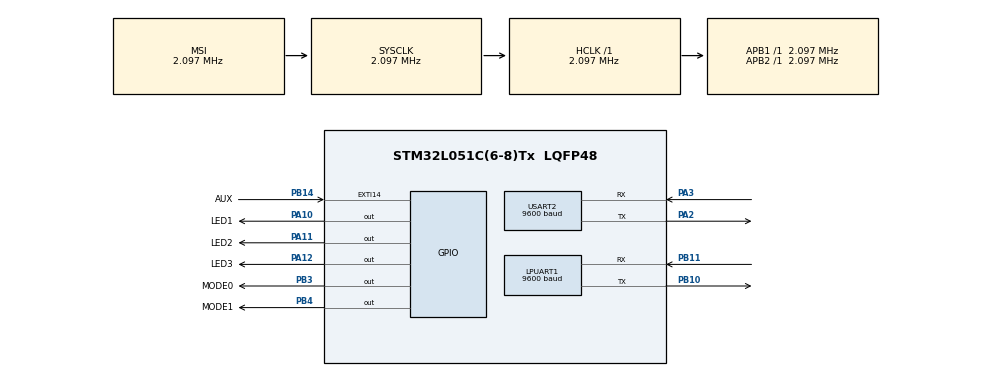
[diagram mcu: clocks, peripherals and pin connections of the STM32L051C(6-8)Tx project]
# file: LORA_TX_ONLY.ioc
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LPUART1.BaudRate=9600
LPUART1.WordLength=UART_WORDLENGTH_8B
Mcu.Family=STM32L0
Mcu.Name=STM32L051C(6-8)Tx
Mcu.Package=LQFP48
NVIC.EXTI4_15_IRQn=true\:0\:0\:false\:false\:true\:true\:true\:true
PA10.GPIO_Label=LED1
PA10.Signal=GPIO_Output
PA11.GPIO_Label=LED2
PA11.Signal=GPIO_Output
PA12.GPIO_Label=LED3
PA12.Signal=GPIO_Output
PA13.Mode=Serial_Wire
PA13.Signal=SYS_SWDIO
PA14.Mode=Serial_Wire
PA14.Signal=SYS_SWCLK
PA2.Mode=Asynchronous
PA2.Signal=USART2_TX
PA3.Mode=Asynchronous
PA3.Signal=USART2_RX
PB10.Mode=Asynchronous
PB10.Signal=LPUART1_TX
PB11.Mode=Asynchronous
PB11.Signal=LPUART1_RX
PB14.GPIO_Label=AUX
PB14.Signal=GPXTI14
PB3.GPIO_Label=MODE0
PB3.Signal=GPIO_Output
PB4.GPIO_Label=MODE1
PB4.Signal=GPIO_Output
ProjectManager.HeapSize=0x200
ProjectManager.StackSize=0x400
ProjectManager.TargetToolchain=STM32CubeIDE
RCC.AHBFreq_Value=2097000
RCC.APB1Freq_Value=2097000
RCC.APB1TimFreq_Value=2097000
RCC.APB2Freq_Value=2097000
RCC.APB2TimFreq_Value=2097000
RCC.HSE_VALUE=8000000
RCC.HSI16_VALUE=16000000
RCC.HSI_VALUE=16000000
RCC.LSE_VALUE=32768
RCC.MSI_VALUE=2097000
RCC.SYSCLKFreq_VALUE=2097000
RCC.VCOOutputFreq_Value=48000000
USART2.BaudRate=9600
USART2.VirtualMode-Asynchronous=VM_ASYNC
board=custom

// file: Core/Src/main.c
/* USER CODE BEGIN Header */
/**
 ******************************************************************************
 * @file           : main.c
 * @brief          : Main program body
 ******************************************************************************
 * @attention
 *
 * Copyright (c) 2024 STMicroelectronics.
 * All rights reserved.
 *
 * This software is licensed under terms that can be found in the LICENSE file
 * in the root directory of this software component.
 * If no LICENSE file comes with this software, it is provided AS-IS.
 *
 ******************************************************************************
 */
/* USER CODE END Header */
#include "main.h"

/* USER CODE BEGIN Includes */
#include "Lora.h"
/* USER CODE END Includes */

UART_HandleTypeDef hlpuart1;
UART_HandleTypeDef huart2;

void SystemClock_Config(void);
static void MX_GPIO_Init(void);
static void MX_LPUART1_UART_Init(void);
static void MX_USART2_UART_Init(void);

/* USER CODE BEGIN 0 */
uint8_t data[4];
uint8_t received_data[2];                  // Buffer for echoed data
uint8_t counter = 0;                       // Counter to update
char message[100];                         // Buffer for messages
uint8_t lora[11];
/* USER CODE END 0 */

int main(void)
{

  /* MCU Configuration--------------------------------------------------------*/

  /* Reset of all peripherals, Initializes the Flash interface and the Systick. */
  HAL_Init();

  /* Configure the system clock */
  SystemClock_Config();

  /* Initialize all configured peripherals */
  MX_GPIO_Init();
  MX_LPUART1_UART_Init();
  MX_USART2_UART_Init();
  /* USER CODE BEGIN 2 */

	LORA_MODE_M0_SET;
	LORA_MODE_M1_SET;
	HAL_Delay(1000);

	lora[0] = 0xc0;
	lora[1] = 0x00;
	lora[2] = 0x08;
	lora[3] = 0x00;
	lora[4] = 0x16;
	lora[5] = 0x67;
	lora[6] = 0x00;
	lora[7] = 0x12;
	lora[8] = 0x52;
	lora[9] = 0x00;
	lora[10] = 0x00;

	HAL_UART_Transmit(&hlpuart1, lora, 11, 2000);

	HAL_Delay(5000);

	LORA_MODE_M0_RESET;
	LORA_MODE_M1_RESET;

	HAL_Delay(1000);

  /* USER CODE END 2 */

  /* Infinite loop */
  /* USER CODE BEGIN WHILE */
	while (1) {

		// Update the counter in the packet

		data[0] = 0x00;
		data[1] = 0x11;
		data[2] = 0x12;
		data[3] = counter;

		// Blink LED1 during transmission
		LED1_ON;
		HAL_UART_Transmit(&hlpuart1, data, sizeof(data), HAL_MAX_DELAY);
		LED1_OFF;
		// Format and send the message
		sprintf(message,"Data Sent: ID=0x%02X%02X, Channel=0x%02X, Counter=%d\r\n",
				data[0], data[1], data[2], data[3]);
		port_lora_print(message);
		HAL_Delay(200);
		LED1_OFF;
		// Wait for echoed data
		if (HAL_UART_Receive(&hlpuart1, received_data, 1, 5000) == HAL_OK)
				{
			// Verify echoed data
			// Success: Data received matches transmitted data
			LED2_ON;
			sprintf(message,"Data Received (Decimal): %d\r\n",received_data[0]);
			port_lora_print(message);
			HAL_Delay(200);
			LED2_OFF;

		} else {
			// No response from receiver
			port_lora_print("No Response from Receiver\r\n");
		}
		// Increment counter and delay before next transmission
		counter++;
		HAL_Delay(8000); // 2-second delay

    /* USER CODE END WHILE */

	}
}

void SystemClock_Config(void)
{
  RCC_OscInitTypeDef RCC_OscInitStruct = {0};
  RCC_ClkInitTypeDef RCC_ClkInitStruct = {0};
  RCC_PeriphCLKInitTypeDef PeriphClkInit = {0};

  /** Configure the main internal regulator output voltage
  */
  __HAL_PWR_VOLTAGESCALING_CONFIG(PWR_REGULATOR_VOLTAGE_SCALE1);

  /** Initializes the RCC Oscillators according to the specified parameters
  * in the RCC_OscInitTypeDef structure.
  */
  RCC_OscInitStruct.OscillatorType = RCC_OSCILLATORTYPE_MSI;
  RCC_OscInitStruct.MSIState = RCC_MSI_ON;
  RCC_OscInitStruct.MSICalibrationValue = 0;
  RCC_OscInitStruct.MSIClockRange = RCC_MSIRANGE_5;
  RCC_OscInitStruct.PLL.PLLState = RCC_PLL_NONE;
  if (HAL_RCC_OscConfig(&RCC_OscInitStruct) != HAL_OK)
  {
    Error_Handler();
  }

  /** Initializes the CPU, AHB and APB buses clocks
  */
  RCC_ClkInitStruct.ClockType = RCC_CLOCKTYPE_HCLK|RCC_CLOCKTYPE_SYSCLK
                              |RCC_CLOCKTYPE_PCLK1|RCC_CLOCKTYPE_PCLK2;
  RCC_ClkInitStruct.SYSCLKSource = RCC_SYSCLKSOURCE_MSI;
  RCC_ClkInitStruct.AHBCLKDivider = RCC_SYSCLK_DIV1;
  RCC_ClkInitStruct.APB1CLKDivider = RCC_HCLK_DIV1;
  RCC_ClkInitStruct.APB2CLKDivider = RCC_HCLK_DIV1;

  if (HAL_RCC_ClockConfig(&RCC_ClkInitStruct, FLASH_LATENCY_0) != HAL_OK)
  {
    Error_Handler();
  }
  PeriphClkInit.PeriphClockSelection = RCC_PERIPHCLK_USART2|RCC_PERIPHCLK_LPUART1;
  PeriphClkInit.Usart2ClockSelection = RCC_USART2CLKSOURCE_PCLK1;
  PeriphClkInit.Lpuart1ClockSelection = RCC_LPUART1CLKSOURCE_PCLK1;
  if (HAL_RCCEx_PeriphCLKConfig(&PeriphClkInit) != HAL_OK)
  {
    Error_Handler();
  }
}

static void MX_LPUART1_UART_Init(void)
{

  hlpuart1.Instance = LPUART1;
  hlpuart1.Init.BaudRate = 9600;
  hlpuart1.Init.WordLength = UART_WORDLENGTH_8B;
  hlpuart1.Init.StopBits = UART_STOPBITS_1;
  hlpuart1.Init.Parity = UART_PARITY_NONE;
  hlpuart1.Init.Mode = UART_MODE_TX_RX;
  hlpuart1.Init.HwFlowCtl = UART_HWCONTROL_NONE;
  hlpuart1.Init.OneBitSampling = UART_ONE_BIT_SAMPLE_DISABLE;
  hlpuart1.AdvancedInit.AdvFeatureInit = UART_ADVFEATURE_NO_INIT;
  if (HAL_UART_Init(&hlpuart1) != HAL_OK)
  {
    Error_Handler();
  }

}

static void MX_USART2_UART_Init(void)
{

  huart2.Instance = USART2;
  huart2.Init.BaudRate = 9600;
  huart2.Init.WordLength = UART_WORDLENGTH_8B;
  huart2.Init.StopBits = UART_STOPBITS_1;
  huart2.Init.Parity = UART_PARITY_NONE;
  huart2.Init.Mode = UART_MODE_TX_RX;
  huart2.Init.HwFlowCtl = UART_HWCONTROL_NONE;
  huart2.Init.OverSampling = UART_OVERSAMPLING_16;
  huart2.Init.OneBitSampling = UART_ONE_BIT_SAMPLE_DISABLE;
  huart2.AdvancedInit.AdvFeatureInit = UART_ADVFEATURE_NO_INIT;
  if (HAL_UART_Init(&huart2) != HAL_OK)
  {
    Error_Handler();
  }

}

static void MX_GPIO_Init(void)
{
  GPIO_InitTypeDef GPIO_InitStruct = {0};

  /* GPIO Ports Clock Enable */
  __HAL_RCC_GPIOA_CLK_ENABLE();
  __HAL_RCC_GPIOB_CLK_ENABLE();

  /*Configure GPIO pin Output Level */
  HAL_GPIO_WritePin(GPIOA, LED1_Pin|LED2_Pin|LED3_Pin, GPIO_PIN_RESET);

  /*Configure GPIO pin Output Level */
  HAL_GPIO_WritePin(GPIOB, MODE0_Pin|MODE1_Pin, GPIO_PIN_RESET);

  /*Configure GPIO pin : AUX_Pin */
  GPIO_InitStruct.Pin = AUX_Pin;
  GPIO_InitStruct.Mode = GPIO_MODE_IT_RISING;
  GPIO_InitStruct.Pull = GPIO_NOPULL;
  HAL_GPIO_Init(AUX_GPIO_Port, &GPIO_InitStruct);

  /*Configure GPIO pins : LED1_Pin LED2_Pin LED3_Pin */
  GPIO_InitStruct.Pin = LED1_Pin|LED2_Pin|LED3_Pin;
  GPIO_InitStruct.Mode = GPIO_MODE_OUTPUT_PP;
  GPIO_InitStruct.Pull = GPIO_NOPULL;
  GPIO_InitStruct.Speed = GPIO_SPEED_FREQ_LOW;
  HAL_GPIO_Init(GPIOA, &GPIO_InitStruct);

  /*Configure GPIO pins : MODE0_Pin MODE1_Pin */
  GPIO_InitStruct.Pin = MODE0_Pin|MODE1_Pin;
  GPIO_InitStruct.Mode = GPIO_MODE_OUTPUT_PP;
  GPIO_InitStruct.Pull = GPIO_NOPULL;
  GPIO_InitStruct.Speed = GPIO_SPEED_FREQ_LOW;
  HAL_GPIO_Init(GPIOB, &GPIO_InitStruct);

  /* EXTI interrupt init*/
  HAL_NVIC_SetPriority(EXTI4_15_IRQn, 0, 0);
  HAL_NVIC_EnableIRQ(EXTI4_15_IRQn);

}

void Error_Handler(void)
{
	__disable_irq();
	while (1) {
	}
}
